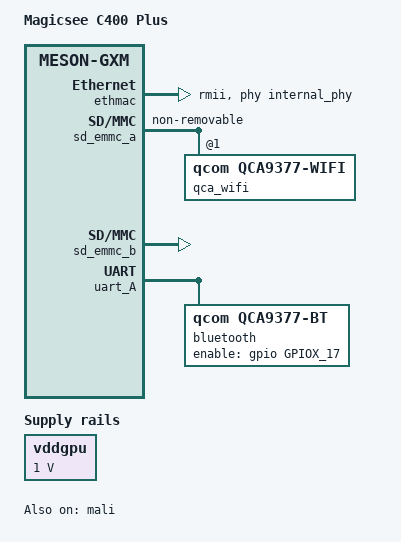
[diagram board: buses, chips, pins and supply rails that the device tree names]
/dts-v1/;

#include "meson-gxm.dtsi"
#include "meson-gx-p23x-q20x.dtsi"

/ {
	compatible = "magicsee,c400-plus", "amlogic,s912", "amlogic,meson-gxm";
	model = "Magicsee C400 Plus";

	vddgpu: regulator-vddgpu {
		compatible = "regulator-fixed";
		regulator-name = "mali";
		regulator-min-microvolt = <1000000>;
		regulator-max-microvolt = <1000000>;
		regulator-always-on;
		regulator-boot-on;
	};
};

&ethmac {
	phy-mode = "rmii";
	phy-handle = <&internal_phy>;
};

&gpu_opp_table {
	status = "okay";
	/delete-node/ opp-666666666;
	/delete-node/ opp-125000000;	
	opp-250000000 {
		opp-hz = /bits/ 64 <250000000>;
		opp-microvolt = <1000000>;
	};
	opp-285714285 {
		opp-hz = /bits/ 64 <285714285>;
		opp-microvolt = <1000000>;
	};
	opp-400000000 {
		opp-hz = /bits/ 64 <400000000>;
		opp-microvolt = <1000000>;
	};
	opp-500000000 {
		opp-hz = /bits/ 64 <500000000>;
		opp-microvolt = <1000000>;
	};
};

&sd_emmc_a {
	status = "okay";
	max-frequency = <50000000>;
	non-removable;
	qca_wifi: wifi@1 {
		reg = <1>;
		compatible = "qcom,qca9377-wifi";
	};
};

&sd_emmc_b {
	status = "okay";
	broken-cd;
};

&uart_A {
	status = "okay";
	pinctrl-0 = <&uart_a_pins>, <&uart_a_cts_rts_pins>;
	pinctrl-names = "default";
	uart-has-rtscts;

	bluetooth {
		compatible = "qcom,qca9377-bt";
		enable-gpios = <&gpio GPIOX_17 GPIO_ACTIVE_HIGH>;
		max-speed = <2000000>;
		clocks = <&wifi32k>;
		clock-names = "lpo";
	};
};

&mali {
    status = "okay";
    mali-supply = <&vddgpu>;
    operating-points-v2 = <&gpu_opp_table>;
    /delete-property/ #cooling-cells;
    linux,pin-runtime-pm-probe;
};

